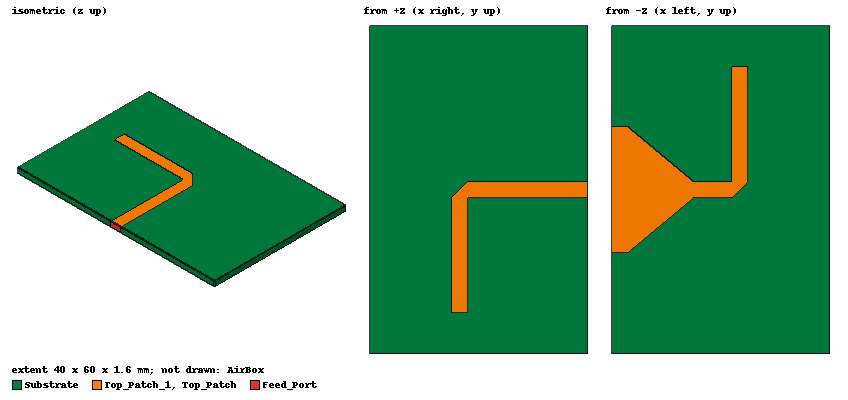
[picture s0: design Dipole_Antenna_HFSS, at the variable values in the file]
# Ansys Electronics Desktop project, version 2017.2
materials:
  vacuum: permittivity=1
  FR4_epoxy: permittivity=4.4 dielectric_loss_tangent=0.02
  air: permittivity=1.0006 permeability=1.0000004

design Dipole_Antenna_HFSS (HFSS, DrivenModal, model units mm)
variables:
  H = 1.6mm
  W1 = 3mm
  L1 = 22mm
  W2 = 3mm
  L2 = 21mm
  L4 = 12mm
  W3 = 3mm
  L3 = 10mm
  Y1 = 0
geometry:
  Substrate [FR4_epoxy] = box(corner=(-40mm, -30mm, 0mm), size=(40mm, 60mm, H))
  Top_Patch = rectangle(corner=(0mm, - W1/2, H), x_size=-L1, y_size=W1)
  Dip_Path = rectangle(corner=(-L1, -W1/2, H), x_size=-W2, y_size=-L2)
  Polyline1 = polyline(z=H, xy: (-L1, -W1/2) (-L1, W1/2) (-L1-W2, -W1/2) (-L1, -W1/2), closed, covered)
  Top_Patch.unite(Dip_Path, Polyline1)
  Top_Patch_1 = Top_Patch.duplicate_mirror(point=(0mm, 0mm, 0mm), normal=(0mm, 1mm, 0mm))
  Top_Patch_1.move(0mm, 0mm, -H)
  Rectangle1 = rectangle(corner=(0mm, W1/2, 0mm), x_size=-W3, y_size=L3)
  Polyline2 = polyline(z=0mm, xy: (-W3, W1/2) (-W3, W1/2+L3) (-W3-L4, W1/2) (-W3, W1/2), closed, covered)
  Rectangle1_1 = Rectangle1.duplicate_mirror(point=(0mm, 0mm, 0mm), normal=(0mm, 1mm, 0mm))
  Polyline2_1 = Polyline2.duplicate_mirror(point=(0mm, 0mm, 0mm), normal=(0mm, 1mm, 0mm))
  Top_Patch_1.unite(Polyline2, Polyline2_1, Rectangle1, Rectangle1_1)
  AirBox [air] = box(corner=(-100mm, -90mm, -60mm), size=(160mm, 180mm, 120mm))
  Feed_Port = rectangle(corner=(0mm, -W1/2, H), y_size=W1, z_size=-H)
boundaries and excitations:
  PerfE1: Perfect E Objects=[Top_Patch, Top_Patch_1]
  Rad1: Radiation Objects=AirBox
  1: Lumped Port Objects=Feed_Port Modes{Mode1{IntLine{middle of Feed_Port.edge(z opposite corner) -> middle of Feed_Port.edge(z at corner)} CharImp=Zpi RenormImp=50ohm}} Impedance=50ohm
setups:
  Setup1: HfssDriven Frequency=2.45GHz MaxDeltaS=0.02 MaximumPasses=20 MinimumPasses=1 MinimumConvergedPasses=1 PercentRefinement=30 BasisOrder=1 PortAccuracy=2 RayDensityPerWavelength=4 MaxNumberOfBounces=5 SkipSBRSolveDuringAdaptivePasses
    sweep Sweep: 2GHz to 3GHz step 0.001GHz; Type=Fast SaveFields
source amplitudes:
  1:1: 1W 0deg
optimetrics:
  ParametricSetup1: Parametric Sim._Setups=[Setup1]
    sweep L2: LIN 19mm 23mm 1mm
  ParametricSetup2: Parametric Sim._Setups=[Setup1]
    sweep L3: LIN 6mm 14mm 2mm
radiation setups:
  3D: Infinite Sphere Theta=0deg..180deg step 1deg Phi=0deg..360deg step 1deg
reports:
  S Parameter Plot 1: dB(S(1,1)) vs Freq on Setup1 : Sweep; markers m1 at 2.251GHz, m2 at 2.738GHz
  Z Parameter Plot 1: re(Z(1,1)), im(Z(1,1)) vs Freq on Setup1 : Sweep; markers m1 at 2.446GHz, m2 at 2.446GHz
  Gain Plot 1: dB(GainTotal) vs Phi, Theta on Setup1 : LastAdaptive, 3D [Freq=2.45GHz]
  S Parameter Plot 2: dB(S(1,1)) vs Freq on Setup1 : Sweep [L2=all]
  S Parameter Plot 3: dB(S(1,1)) vs Freq on Setup1 : Sweep [L2=all L3=all]
